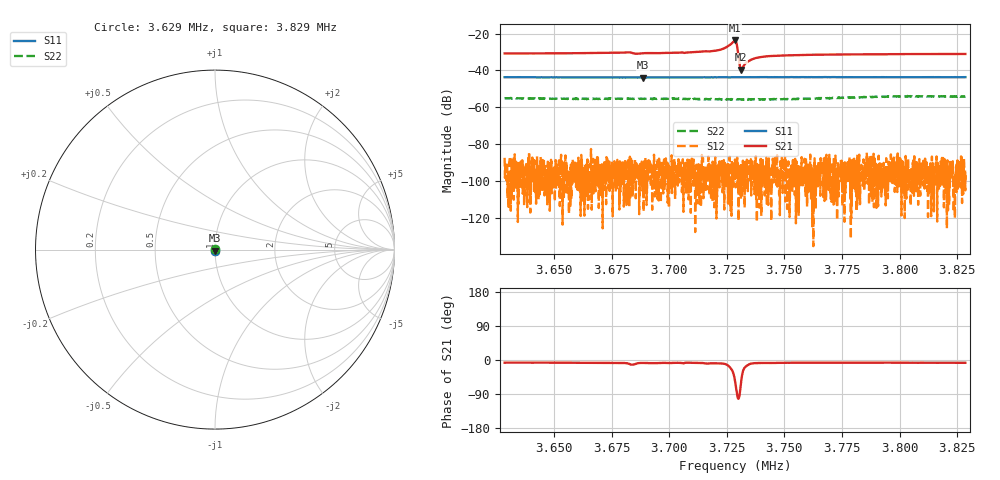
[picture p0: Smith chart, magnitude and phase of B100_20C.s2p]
# Hz S dB R 50.000
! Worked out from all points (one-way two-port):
!   6401 points, 3.629 MHz to 3.829 MHz, reference 50 ohm
!   highest |S21| = -23.76 dB at 3.729 MHz (marker M1); lowest = -39.6 dB at 3.731 MHz (marker M2)
!   lowest |S11| = -43.9 dB at 3.689 MHz (marker M3), VSWR 1.01, Z = 49.9 - j0.627 ohm
!   |S11| at or under -10 dB: start of sweep to end of sweep
!   |S22| runs from -55.9 to -53.8 dB; largest |S21 - S12| = 0.065
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3628594  -43.71 -101.0  -30.80 -7.0  -87.41 124.5  -55.07 91.2
3661938  -43.80 -100.9  -30.65 -7.2  -87.28 158.0  -55.29 92.8
3682313  -43.78 -101.1  -30.17 -9.3  -90.48 48.4  -55.41 94.4
3685500  -43.79 -101.0  -31.00 -10.2  -97.72 -173.9  -55.42 94.7
3688750  -43.88 -101.0  -30.68 -7.7  -95.07 33.8  -55.29 94.5
3695282  -43.77 -101.0  -30.64 -8.1  -91.74 35.0  -55.24 95.1
3707250  -43.77 -100.8  -30.38 -7.2  -94.02 9.8  -55.53 96.5
3719688  -43.74 -100.8  -29.39 -8.5  -95.62 -64.2  -55.54 97.7
3723688  -43.74 -100.7  -28.16 -9.8  -91.41 90.2  -55.68 96.1
3727938  -43.67 -100.7  -24.38 -36.3  -95.41 -163.3  -55.77 97.1
3728594  -43.74 -101.0  -23.76 -54.5  -88.30 10.6  -55.73 96.5
3729282  -43.73 -100.7  -25.46 -83.8  -93.60 -16.6  -55.68 96.9
3730625  -43.72 -100.8  -36.97 -90.2  -93.48 144.4  -55.60 96.1
3731250  -43.68 -100.8  -39.63 -56.2  -91.35 64.7  -55.80 96.8
3731844  -43.73 -100.7  -38.68 -34.1  -96.03 125.9  -55.88 95.6
3733469  -43.71 -100.7  -35.83 -16.1  -92.41 -58.3  -55.78 96.4
3735250  -43.71 -100.5  -34.40 -10.1  -96.56 106.9  -55.63 95.9
3739094  -43.71 -100.6  -32.88 -7.9  -98.51 25.8  -55.82 96.2
3744375  -43.66 -100.4  -32.19 -7.9  -102.25 -89.7  -55.65 94.6
3761938  -43.64 -100.8  -31.54 -7.2  -101.70 -115.0  -55.27 93.0
3795282  -43.73 -101.2  -31.21 -6.8  -91.89 52.5  -54.20 90.3
3828594  -43.65 -101.1  -31.09 -7.3  -95.16 -20.7  -54.15 91.9
